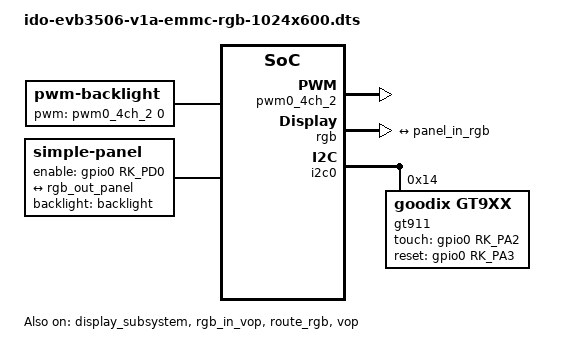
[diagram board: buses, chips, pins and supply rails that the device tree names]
// SPDX-License-Identifier: (GPL-2.0+ OR MIT)
/*
 * Copyright (c) 2024 Rockchip Electronics Co., Ltd.
 */

#include <dt-bindings/display/media-bus-format.h>
#include "ido-evb3506-v1a-emmc.dtsi"

/ {	
	backlight: backlight {
		status = "okay";
		compatible = "pwm-backlight";
		pwms = <&pwm0_4ch_2 0 25000 0>;
		brightness-levels = <
			  0  20  20  21  21  22  22  23
			 23  24  24  25  25  26  26  27
			 27  28  28  29  29  30  30  31
			 31  32  32  33  33  34  34  35
			 35  36  36  37  37  38  38  39
			 40  41  42  43  44  45  46  47
			 48  49  50  51  52  53  54  55
			 56  57  58  59  60  61  62  63
			 64  65  66  67  68  69  70  71
			 72  73  74  75  76  77  78  79
			 80  81  82  83  84  85  86  87
			 88  89  90  91  92  93  94  95
			 96  97  98  99 100 101 102 103
			104 105 106 107 108 109 110 111
			112 113 114 115 116 117 118 119
			120 121 122 123 124 125 126 127
			128 129 130 131 132 133 134 135
			136 137 138 139 140 141 142 143
			144 145 146 147 148 149 150 151
			152 153 154 155 156 157 158 159
			160 161 162 163 164 165 166 167
			168 169 170 171 172 173 174 175
			176 177 178 179 180 181 182 183
			184 185 186 187 188 189 190 191
			192 193 194 195 196 197 198 199
			200 201 202 203 204 205 206 207
			208 209 210 211 212 213 214 215
			216 217 218 219 220 221 222 223
			224 225 226 227 228 229 230 231
			232 233 234 235 236 237 238 239
			240 241 242 243 244 245 246 247
			248 249 250 251 252 253 254 255
		>;
		default-brightness-level = <200>;
		
	};
	
	panel: panel {
		status = "okay";
		compatible = "simple-panel";
		bus-format = <MEDIA_BUS_FMT_RGB888_1X24>;
		backlight = <&backlight>;
		enable-gpios = <&gpio0 RK_PD0 GPIO_ACTIVE_HIGH>;
		enable-delay-ms = <20>;
		pinctrl-names = "default";
		pinctrl-0 = <&lcd_en_gpio>;
		display-timings {
			native-mode = <&timing0>;

			timing0: timing0 {
				clock-frequency = <51200000>;
				hactive = <1024>;
				vactive = <600>;
				hback-porch = <160>;
				hfront-porch = <160>;
				vback-porch = <23>;
				vfront-porch = <12>;
				hsync-len = <24>;
				vsync-len = <2>;
				hsync-active = <0>;
				vsync-active = <0>;
				de-active = <0>;
				pixelclk-active = <0>;
			};
		};

		port {
			panel_in_rgb: endpoint {
				remote-endpoint = <&rgb_out_panel>;
			};
		};
	};
};

&display_subsystem {
	logo-memory-region = <&drm_logo>;
	status = "okay";
};

&pwm0_4ch_2 {
        pinctrl-names = "active";
        pinctrl-0 = <&rm_io4_pwm0_ch2>;
        status = "okay";
};

&rgb {
	status = "okay";
	pinctrl-names = "default";
	pinctrl-0 = <&rgb888_pins>;

	ports {
		rgb_out: port@1 {
			reg = <1>;
			#address-cells = <1>;
			#size-cells = <0>;

			rgb_out_panel: endpoint@0 {
				reg = <0>;
				remote-endpoint = <&panel_in_rgb>;
			};
		};
	};
};

&rgb_in_vop {
	status = "okay";
};

&route_rgb {
	status = "okay";
	connect = <&vop_out_rgb>;
};

&u2phy_otg0 {
	rockchip,vbus-always-on;
};

&vop {
	status = "okay";
};

&i2c0 {
	status = "okay";
	pinctrl-names = "default";
	pinctrl-0 = <&rm_io0_i2c0_scl
		     &rm_io1_i2c0_sda>;

	gt911@14 {
		compatible = "goodix,gt9xx";
		reg = <0x14>;
		pinctrl-0 = <&touch_gpio>;
		touch-gpio = <&gpio0 RK_PA2 IRQ_TYPE_LEVEL_LOW>;
		reset-gpio = <&gpio0 RK_PA3 GPIO_ACTIVE_HIGH>;
		max-x = <720>;
		max-y = <720>;
		tp-size = <9110>;
		status = "okay";
	};
};

&pinctrl {
	lcd {
		lcd_en_gpio: lcd-en-gpio {
			rockchip,pins = <0 RK_PD0 RK_FUNC_GPIO &pcfg_pull_none>;
		};
	};
	
	touch {
		touch_gpio: touch-gpio {
			rockchip,pins = <0 RK_PA2 RK_FUNC_GPIO &pcfg_pull_none>;
		};
		
		reset_gpio: reset-gpio {
			rockchip,pins = <0 RK_PA3 RK_FUNC_GPIO &pcfg_pull_none>;
		};
	};
};
